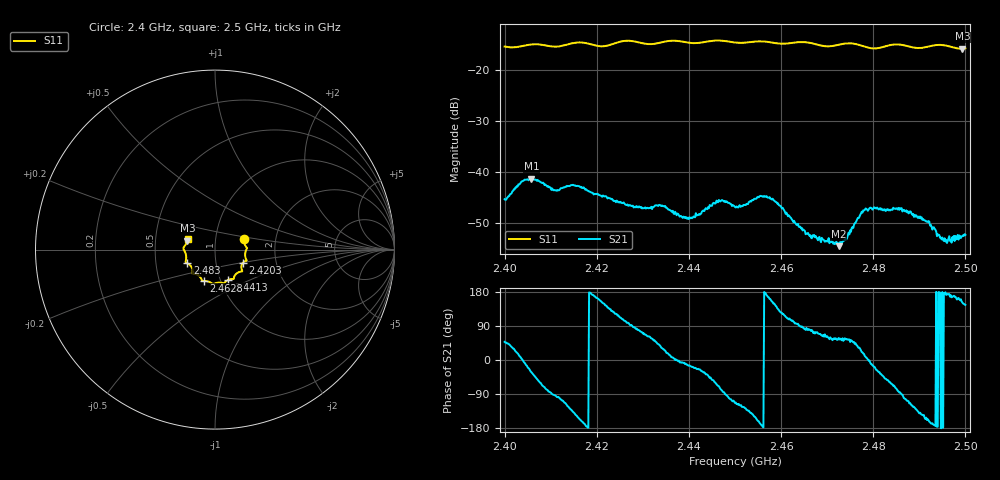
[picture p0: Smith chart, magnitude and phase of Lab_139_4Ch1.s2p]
# Hz S RI R 50
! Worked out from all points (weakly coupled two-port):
!   601 points, 2.4 GHz to 2.5 GHz, reference 50 ohm
!   highest |S21| = -41.32 dB at 2.4058 GHz (marker M1); lowest = -54.5 dB at 2.4725 GHz (marker M2)
!   lowest |S11| = -15.8 dB at 2.4993 GHz (marker M3), VSWR 1.39, Z = 36.5 + j3.7 ohm
!   |S11| at or under -10 dB: start of sweep to end of sweep
!   S12 and S22 are empty: the file has one direction only
!   S11 on the Smith chart (normalised r, x): 2.4 GHz: 1.37, +0.16; 2.4203 GHz: 1.35, -0.21; 2.4413 GHz: 1.09, -0.38; 2.4628 GHz: 0.83, -0.30; 2.483 GHz: 0.72, -0.11; 2.5 GHz: 0.73, +0.09
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2.4e9  0.1603 0.0568  0.00363 0.00401  0 0  0 0
2.405833e9  0.1777 0.0107  0.00725 -0.00462  0 0  0 0
2.411e9  0.1681 -0.0209  -0.00044 -0.0066  0 0  0 0
2.416667e9  0.1759 -0.0612  -0.00676 -0.00232  0 0  0 0
2.420333e9  0.1551 -0.0738  -0.00572 0.00195  0 0  0 0
2.4285e9  0.1449 -0.1223  0.00062 0.00445  0 0  0 0
2.433333e9  0.108 -0.1485  0.00345 0.0031  0 0  0 0
2.441333e9  0.0743 -0.1679  0.00337 -0.00126  0 0  0 0
2.4465e9  0.0488 -0.1886  0.00189 -0.00498  0 0  0 0
2.45e9  0.0295 -0.1839  -0.00179 -0.00417  0 0  0 0
2.457e9  -0.0169 -0.1883  -0.00554 0.00104  0 0  0 0
2.462833e9  -0.0629 -0.1747  -0.000559 0.00327  0 0  0 0
2.466667e9  -0.0743 -0.1676  0.000426 0.0022  0 0  0 0
2.4725e9  -0.1148 -0.1347  0.000993 0.00159  0 0  0 0
2.474e9  -0.1229 -0.1343  0.00127 0.0018  0 0  0 0
2.478e9  -0.1244 -0.1164  0.00404 0.00114  0 0  0 0
2.483e9  -0.1548 -0.0765  0.0026 -0.00345  0 0  0 0
2.483333e9  -0.1569 -0.0756  0.0024 -0.00345  0 0  0 0
2.491667e9  -0.1684 -0.0102  -0.00303 -0.0012  0 0  0 0
2.495667e9  -0.1735 0.0142  -0.00208 5.15e-05  0 0  0 0
2.499333e9  -0.1541 0.0494  -0.00207 0.00112  0 0  0 0
2.5e9  -0.1526 0.0586  -0.00199 0.00137  0 0  0 0
